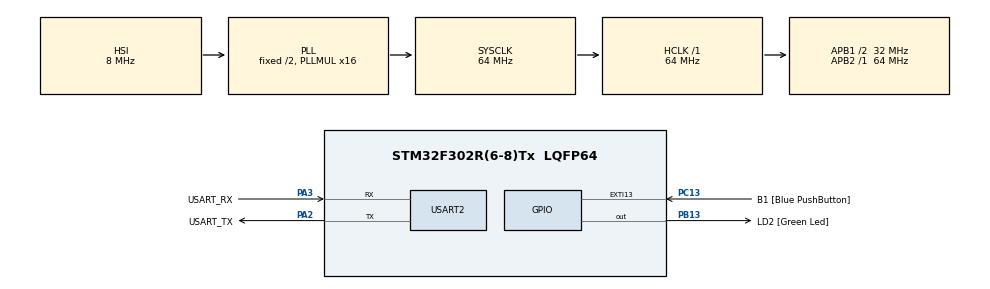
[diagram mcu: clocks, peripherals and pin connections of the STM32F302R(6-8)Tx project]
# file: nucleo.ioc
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Mcu.Family=STM32F3
Mcu.Name=STM32F302R(6-8)Tx
Mcu.Package=LQFP64
NVIC.PriorityGroup=NVIC_PRIORITYGROUP_0
PA13.GPIO_Label=TMS
PA13.Mode=Serial_Wire
PA13.Signal=SYS_JTMS-SWDIO
PA14.GPIO_Label=TCK
PA14.Mode=Serial_Wire
PA14.Signal=SYS_JTCK-SWCLK
PA2.GPIO_Label=USART_TX
PA2.GPIO_Mode=GPIO_MODE_AF_PP
PA2.GPIO_PuPd=GPIO_NOPULL
PA2.GPIO_Speed=GPIO_SPEED_FREQ_LOW
PA2.Mode=Asynchronous
PA2.Signal=USART2_TX
PA3.GPIO_Label=USART_RX
PA3.GPIO_Mode=GPIO_MODE_AF_PP
PA3.GPIO_PuPd=GPIO_NOPULL
PA3.GPIO_Speed=GPIO_SPEED_FREQ_LOW
PA3.Mode=Asynchronous
PA3.Signal=USART2_RX
PB13.GPIO_Label=LD2 [Green Led]
PB13.Signal=GPIO_Output
PB3.GPIO_Label=SWO
PB3.Mode=Trace_Asynchronous_SW
PB3.Signal=SYS_JTDO-TRACESWO
PC13.GPIO_Label=B1 [Blue PushButton]
PC13.GPIO_ModeDefaultEXTI=GPIO_MODE_IT_FALLING
PC13.Signal=GPXTI13
PC14\ -\ OSC32_IN.Mode=LSE-External-Oscillator
PC14\ -\ OSC32_IN.Signal=RCC_OSC32_IN
PC15\ -\ OSC32_OUT.Mode=LSE-External-Oscillator
PC15\ -\ OSC32_OUT.Signal=RCC_OSC32_OUT
PF0-OSC_IN.Mode=HSE-External-Clock-Source
PF0-OSC_IN.Signal=RCC_OSC_IN
PF1-OSC_OUT.Signal=RCC_OSC_OUT
ProjectManager.HeapSize=0x200
ProjectManager.StackSize=0x400
ProjectManager.TargetToolchain=MDK-ARM V5.27
RCC.AHBFreq_Value=64000000
RCC.APB1CLKDivider=RCC_HCLK_DIV2
RCC.APB1Freq_Value=32000000
RCC.APB1TimFreq_Value=64000000
RCC.APB2Freq_Value=64000000
RCC.APB2TimFreq_Value=64000000
RCC.CortexFreq_Value=64000000
RCC.HCLKFreq_Value=64000000
RCC.HSE_VALUE=8000000
RCC.HSI_VALUE=8000000
RCC.PLLM=8
RCC.PLLMUL=RCC_PLL_MUL16
RCC.PLLN=336
RCC.PLLP=RCC_PLLP_DIV4
RCC.PLLQ=7
RCC.RCC_PLLsource_Clock_Source_FROM_HSE=RCC_HSE_PREDIV_DIV2
RCC.SYSCLKFreq_VALUE=64000000
RCC.SYSCLKSourceVirtual=RCC_SYSCLKSOURCE_PLLCLK
RCC.USBFreq_Value=64000000
USART2.VirtualMode-Asynchronous=VM_ASYNC
board=NUCLEO-F302R8

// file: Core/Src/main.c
/* USER CODE BEGIN Header */
/**
  ******************************************************************************
  * @file           : main.c
  * @brief          : Main program body
  ******************************************************************************
  * @attention
  *
  * <h2><center>&copy; Copyright (c) 2021 STMicroelectronics.
  * All rights reserved.</center></h2>
  *
  * This software component is licensed by ST under BSD 3-Clause license,
  * the "License"; You may not use this file except in compliance with the
  * License. You may obtain a copy of the License at:
  *                        opensource.org/licenses/BSD-3-Clause
  *
  ******************************************************************************
  */
/* USER CODE END Header */
#include "main.h"

/* USER CODE BEGIN PD */
//#define DWT_CONTROL *(volatile unsigned long *)0xE0001000
//#define SCB_DEMCR   *(volatile unsigned long *)0xE000EDFC
/* USER CODE END PD */

UART_HandleTypeDef huart2;

void SystemClock_Config(void);
static void MX_GPIO_Init(void);
static void MX_USART2_UART_Init(void);
/* USER CODE BEGIN PFP */
uint32_t DWT_Delay_Init(void)
{
    /* Disable TRC */
    CoreDebug->DEMCR &= ~CoreDebug_DEMCR_TRCENA_Msk; // ~0x01000000;
    /* Enable TRC */
    CoreDebug->DEMCR |=  CoreDebug_DEMCR_TRCENA_Msk; // 0x01000000;
    /* Disable clock cycle counter */
    DWT->CTRL &= ~DWT_CTRL_CYCCNTENA_Msk; //~0x00000001;
    /* Enable  clock cycle counter */
    DWT->CTRL |=  DWT_CTRL_CYCCNTENA_Msk; //0x00000001;
    /* Reset the clock cycle counter value */
    DWT->CYCCNT = 0;
    /* 3 NO OPERATION instructions */
    __ASM volatile ("NOP");
    __ASM volatile ("NOP");
    __ASM volatile ("NOP");
    /* Check if clock cycle counter has started */
    if(DWT->CYCCNT)
    {
       return 0; /*clock cycle counter started*/
    }
    else
    {
      return 1; /*clock cycle counter not started*/
    }
}

__STATIC_INLINE void DWT_Delay_us(volatile uint32_t au32_microseconds)
{
  uint32_t au32_initial_ticks = DWT->CYCCNT;
  uint32_t au32_ticks = (HAL_RCC_GetHCLKFreq() / 1000000);
  au32_microseconds *= au32_ticks;
  while ((DWT->CYCCNT - au32_initial_ticks) < au32_microseconds-au32_ticks);
}
/* USER CODE END PFP */

int main(void)
{

  /* MCU Configuration--------------------------------------------------------*/

  /* Reset of all peripherals, Initializes the Flash interface and the Systick. */
  HAL_Init();
	DWT_Delay_Init();

  /* Configure the system clock */
  SystemClock_Config();

  /* Initialize all configured peripherals */
  MX_GPIO_Init();
  MX_USART2_UART_Init();

  /* Infinite loop */
  /* USER CODE BEGIN WHILE */
  while (1)
  {
		HAL_GPIO_WritePin(GPIOB, GPIO_PIN_13, GPIO_PIN_SET);
		HAL_Delay(1000);
		HAL_GPIO_WritePin(GPIOB, GPIO_PIN_13, GPIO_PIN_RESET);
		DWT_Delay_us(1000000);
    /* USER CODE END WHILE */

  }
}

void SystemClock_Config(void)
{
  RCC_OscInitTypeDef RCC_OscInitStruct = {0};
  RCC_ClkInitTypeDef RCC_ClkInitStruct = {0};

  /** Initializes the RCC Oscillators according to the specified parameters
  * in the RCC_OscInitTypeDef structure.
  */
  RCC_OscInitStruct.OscillatorType = RCC_OSCILLATORTYPE_HSI;
  RCC_OscInitStruct.HSIState = RCC_HSI_ON;
  RCC_OscInitStruct.HSICalibrationValue = RCC_HSICALIBRATION_DEFAULT;
  RCC_OscInitStruct.PLL.PLLState = RCC_PLL_ON;
  RCC_OscInitStruct.PLL.PLLSource = RCC_PLLSOURCE_HSI;
  RCC_OscInitStruct.PLL.PLLMUL = RCC_PLL_MUL16;
  if (HAL_RCC_OscConfig(&RCC_OscInitStruct) != HAL_OK)
  {
    Error_Handler();
  }
  /** Initializes the CPU, AHB and APB buses clocks
  */
  RCC_ClkInitStruct.ClockType = RCC_CLOCKTYPE_HCLK|RCC_CLOCKTYPE_SYSCLK
                              |RCC_CLOCKTYPE_PCLK1|RCC_CLOCKTYPE_PCLK2;
  RCC_ClkInitStruct.SYSCLKSource = RCC_SYSCLKSOURCE_PLLCLK;
  RCC_ClkInitStruct.AHBCLKDivider = RCC_SYSCLK_DIV1;
  RCC_ClkInitStruct.APB1CLKDivider = RCC_HCLK_DIV2;
  RCC_ClkInitStruct.APB2CLKDivider = RCC_HCLK_DIV1;

  if (HAL_RCC_ClockConfig(&RCC_ClkInitStruct, FLASH_LATENCY_2) != HAL_OK)
  {
    Error_Handler();
  }
}

static void MX_USART2_UART_Init(void)
{

  huart2.Instance = USART2;
  huart2.Init.BaudRate = 38400;
  huart2.Init.WordLength = UART_WORDLENGTH_8B;
  huart2.Init.StopBits = UART_STOPBITS_1;
  huart2.Init.Parity = UART_PARITY_NONE;
  huart2.Init.Mode = UART_MODE_TX_RX;
  huart2.Init.HwFlowCtl = UART_HWCONTROL_NONE;
  huart2.Init.OverSampling = UART_OVERSAMPLING_16;
  huart2.Init.OneBitSampling = UART_ONE_BIT_SAMPLE_DISABLE;
  huart2.AdvancedInit.AdvFeatureInit = UART_ADVFEATURE_NO_INIT;
  if (HAL_UART_Init(&huart2) != HAL_OK)
  {
    Error_Handler();
  }

}

static void MX_GPIO_Init(void)
{
  GPIO_InitTypeDef GPIO_InitStruct = {0};

  /* GPIO Ports Clock Enable */
  __HAL_RCC_GPIOC_CLK_ENABLE();
  __HAL_RCC_GPIOF_CLK_ENABLE();
  __HAL_RCC_GPIOA_CLK_ENABLE();
  __HAL_RCC_GPIOB_CLK_ENABLE();

  /*Configure GPIO pin Output Level */
  HAL_GPIO_WritePin(LD2_GPIO_Port, LD2_Pin, GPIO_PIN_RESET);

  /*Configure GPIO pin : B1_Pin */
  GPIO_InitStruct.Pin = B1_Pin;
  GPIO_InitStruct.Mode = GPIO_MODE_IT_FALLING;
  GPIO_InitStruct.Pull = GPIO_NOPULL;
  HAL_GPIO_Init(B1_GPIO_Port, &GPIO_InitStruct);

  /*Configure GPIO pin : LD2_Pin */
  GPIO_InitStruct.Pin = LD2_Pin;
  GPIO_InitStruct.Mode = GPIO_MODE_OUTPUT_PP;
  GPIO_InitStruct.Pull = GPIO_NOPULL;
  GPIO_InitStruct.Speed = GPIO_SPEED_FREQ_LOW;
  HAL_GPIO_Init(LD2_GPIO_Port, &GPIO_InitStruct);

}

void Error_Handler(void)
{
}

/************************ (C) COPYRIGHT STMicroelectronics *****END OF FILE****/
